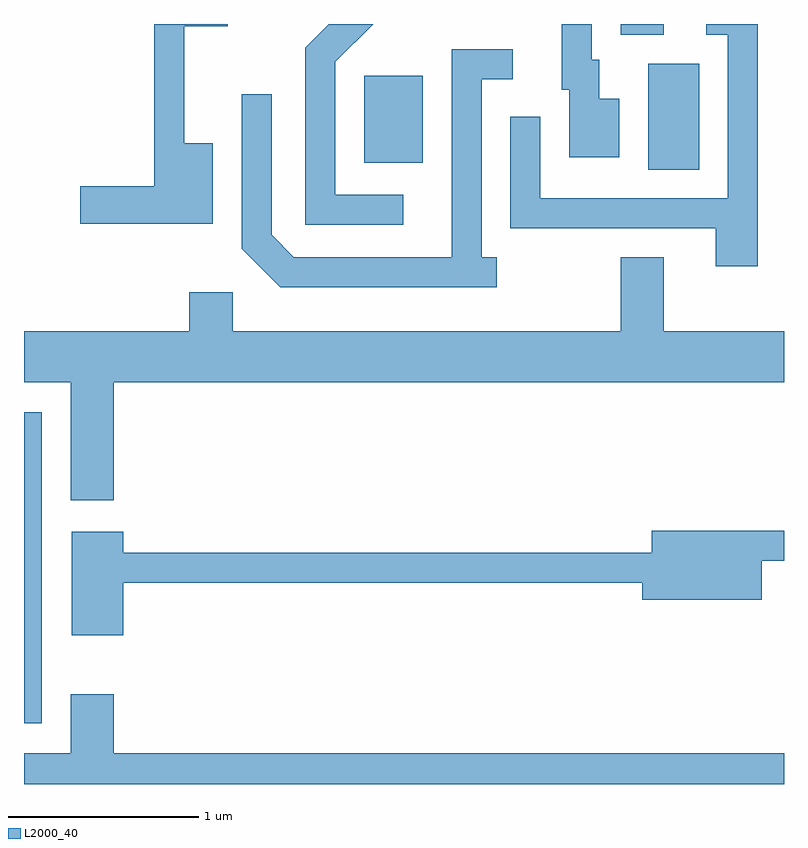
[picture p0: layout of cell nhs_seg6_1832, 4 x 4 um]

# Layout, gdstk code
import gdstk
lib = gdstk.Library(unit=1e-6, precision=1e-09)
def R(c, l, rs):  # rectangles x0, y0, x1, y1
    for r in rs: c.add(gdstk.rectangle(r[:2], r[2:], *l))
def P(c, l, *ps):  # polygons
    for p in ps: c.add(gdstk.Polygon(p, *l))
L2000_40 = (2000, 40)

nhs_seg6_1832 = lib.new_cell('nhs_seg6_1832')
R(nhs_seg6_1832, L2000_40, [(241.611,1530.481,241.704,1532.119), (244.896,1533.396,245.164,1533.954), (243.401,1533.431,243.709,1533.889), (244.751,1534.106,244.979,1534.162)])
P(nhs_seg6_1832, L2000_40, [(244.744,1533.769),(244.639,1533.769),(244.639,1533.974),(244.599,1533.974),(244.599,1534.162),(244.441,1534.162),(244.441,1533.816),(244.481,1533.816),(244.481,1533.461),(244.744,1533.461)],
  [(243.608,1533.264),(243.249,1533.264),(243.249,1533.964),(243.448,1534.162),(243.216,1534.162),(243.091,1534.037),(243.091,1533.106),(243.608,1533.106)],
  [(242.604,1533.534),(242.454,1533.534),(242.454,1534.151),(242.683,1534.151),(242.683,1534.162),(242.296,1534.162),(242.296,1533.309),(241.906,1533.309),(241.906,1533.111),(242.604,1533.111)],
  [(245.474,1534.162),(245.203,1534.162),(245.203,1534.106),(245.316,1534.106),(245.316,1533.244),(244.329,1533.244),(244.329,1533.673),(244.171,1533.673),(244.171,1533.086),(245.251,1533.086),(245.251,1532.886),(245.474,1532.886)],
  [(244.098,1532.934),(244.019,1532.934),(244.019,1533.871),(244.183,1533.871),(244.183,1534.029),(243.861,1534.029),(243.861,1532.934),(243.032,1532.934),(242.914,1533.052),(242.914,1533.793),(242.756,1533.793),(242.756,1532.979),(242.959,1532.776),(244.098,1532.776)],
  [(242.084,1532.276),(245.611,1532.276),(245.611,1532.544),(244.979,1532.544),(244.979,1532.934),(244.751,1532.934),(244.751,1532.544),(242.709,1532.544),(242.709,1532.749),(242.481,1532.749),(242.481,1532.544),(241.611,1532.544),(241.611,1532.276),(241.856,1532.276),(241.856,1531.656),(242.084,1531.656)],
  [(242.134,1531.221),(244.866,1531.221),(244.866,1531.131),(245.494,1531.131),(245.494,1531.336),(245.611,1531.336),(245.611,1531.494),(244.916,1531.494),(244.916,1531.379),(242.134,1531.379),(242.134,1531.489),(241.861,1531.489),(241.861,1530.946),(242.134,1530.946)],
  [(245.611,1530.324),(242.084,1530.324),(242.084,1530.634),(241.856,1530.634),(241.856,1530.324),(241.611,1530.324),(241.611,1530.162),(245.611,1530.162)])

lib.write_gds('nhs_seg6_1832.gds')
